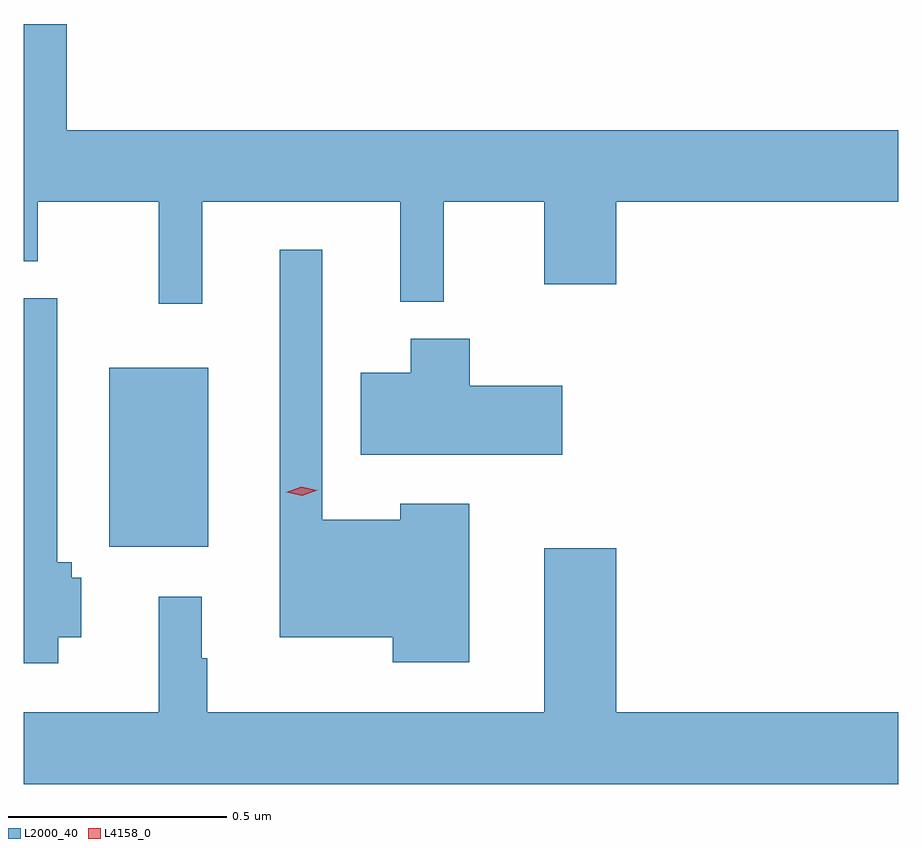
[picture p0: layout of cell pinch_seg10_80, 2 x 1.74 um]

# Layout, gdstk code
import gdstk
lib = gdstk.Library(unit=1e-6, precision=1e-09)
def R(c, l, rs):  # rectangles x0, y0, x1, y1
    for r in rs: c.add(gdstk.rectangle(r[:2], r[2:], *l))
def P(c, l, *ps):  # polygons
    for p in ps: c.add(gdstk.Polygon(p, *l))
L2000_40 = (2000, 40)
L4158_0 = (4158, 0)

pinch_seg10_80 = lib.new_cell('pinch_seg10_80')
R(pinch_seg10_80, L2000_40, [(811.364,1300.859,811.591,1301.269)])
P(pinch_seg10_80, L2000_40, [(811.577,1301.648),(812.03,1301.648),(812.03,1301.42),(812.13,1301.42),(812.13,1301.648),(812.36,1301.648),(812.36,1301.46),(812.524,1301.46),(812.524,1301.648),(813.169,1301.648),(813.169,1301.812),(811.267,1301.812),(811.267,1302.055),(811.169,1302.055),(811.169,1301.512),(811.201,1301.512),(811.201,1301.648),(811.477,1301.648),(811.477,1301.415),(811.577,1301.415)],
  [(812.188,1300.957),(812.03,1300.957),(812.03,1300.921),(811.851,1300.921),(811.851,1301.539),(811.754,1301.539),(811.754,1300.652),(812.013,1300.652),(812.013,1300.595),(812.188,1300.595)],
  [(811.248,1300.652),(811.3,1300.652),(811.3,1300.788),(811.278,1300.788),(811.278,1300.823),(811.245,1300.823),(811.245,1301.427),(811.169,1301.427),(811.169,1300.592),(811.248,1300.592)],
  [(812.401,1301.227),(812.189,1301.227),(812.189,1301.335),(812.054,1301.335),(812.054,1301.257),(811.94,1301.257),(811.94,1301.069),(812.401,1301.069)],
  [(813.169,1300.48),(812.524,1300.48),(812.524,1300.855),(812.36,1300.855),(812.36,1300.48),(811.588,1300.48),(811.588,1300.604),(811.576,1300.604),(811.576,1300.744),(811.477,1300.744),(811.477,1300.48),(811.169,1300.48),(811.169,1300.316),(813.169,1300.316)])
P(pinch_seg10_80, L4158_0, [(811.806,1300.976),(811.769,1300.983),(811.769,1300.983),(811.769,1300.984),(811.804,1300.996),(811.84,1300.988),(811.841,1300.988),(811.84,1300.988)])

lib.write_gds('pinch_seg10_80.gds')
